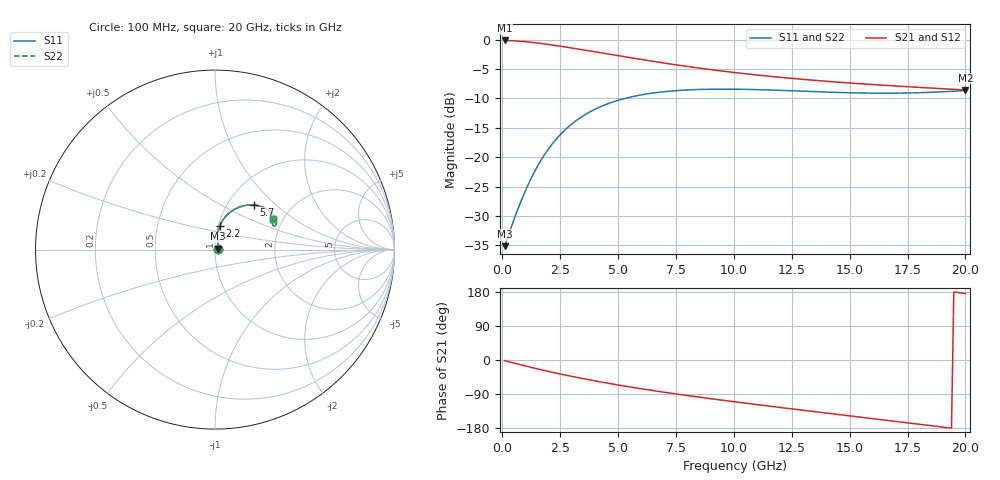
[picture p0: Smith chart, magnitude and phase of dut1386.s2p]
! Touchstone file exported from HFSS 2024.1.0
!  File:  C:/UserFiles/LocalFiles/RDL_TSV_Batchsim/temp_RDL_TSV_1386_1780402451.aedt
!  Generated:  08:28:41 PM Jun  2, 2026
!  Design:  RDL_TSV
!  Project:  temp_RDL_TSV_1386_1780402451
!  Setup:  Setup1
!  Solution:  Sweep
! Variables:
!  dtsv = 9.47um
!  hbump = 3um
!  htsv = 61.44um
!  ldown = 179.32um
!  lrdl = 536.49um
!  p = 40
!  p1 = 52.13um
!  rhole = 10um
!  subl = 2683.92um
!  t = 450um
!  tdown = 2.85um
!  trdl = 3.95um
!  viad = 10um
!  wdown = 29.57um
!  wrdl = 13.8um
!  xbump = 18um
# GHz S MA R 50.000000
! Terminal data exported
! Port[1] = TM1_1_T1
! Port[2] = TM1_4_T1
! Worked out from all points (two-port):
!   200 points, 100 MHz to 20 GHz, reference 50 ohm
!   highest |S21| = -0.15 dB at 100 MHz (marker M1); lowest = -8.6 dB at 20 GHz (marker M2)
!   |S21| within 3 dB of the highest: start of sweep to 5.629 GHz
!   lowest |S11| = -35.2 dB at 100 MHz (marker M3), VSWR 1.04, Z = 51.7 + j0.522 ohm
!   |S11| at or under -10 dB: start of sweep to 5.312 GHz
!   |S22| runs from -35.2 to -8.4 dB; largest |S21 - S12| = 1.5e-14
!   S11 on the Smith chart (normalised r, x): 100 MHz: 1.03, +0.01; 2.2 GHz: 1.02, +0.27; 5.7 GHz: 1.32, +0.74; 20 GHz: 1.78, +0.71
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0.1  0.01747 16.8  0.983 -1.6  0.983 -1.6  0.01747 16.8
! Gamma 0 0 0 0
! Port Impedance 50 0 50 0
0.5  0.02936 54.6  0.9759 -8.1  0.9759 -8.1  0.02936 54.6
0.7  0.03732 64.1  0.9702 -11.2  0.9702 -11.2  0.03732 64.1
1.2  0.06319 76.9  0.9507 -18.8  0.9507 -18.8  0.06319 76.9
1.4  0.07571 79.0  0.9411 -21.8  0.9411 -21.8  0.07571 79.0
1.7  0.09616 80.1  0.9254 -26.1  0.9254 -26.1  0.09616 80.1
2.2  0.1327 78.7  0.8968 -33.0  0.8968 -33.0  0.1327 78.7
2.8  0.177 74.3  0.8604 -40.8  0.8604 -40.8  0.1771 74.3
3.5  0.225 67.9  0.8173 -49.3  0.8173 -49.3  0.225 67.9
4  0.2551 63.2  0.7871 -55.1  0.7871 -55.1  0.2552 63.2
4.5  0.2815 58.7  0.7577 -60.6  0.7577 -60.6  0.2816 58.7
5.7  0.3295 48.9  0.6922 -73.0  0.6922 -73.0  0.3295 48.9
6.8  0.3569 41.4  0.6395 -83.3  0.6395 -83.3  0.3569 41.4
7.6  0.3689 36.9  0.6057 -90.4  0.6057 -90.4  0.369 36.9
8.4  0.3758 33.0  0.5756 -97.2  0.5756 -97.2  0.3759 33.0
10.1  0.3783 26.8  0.5225 -110.8  0.5225 -110.8  0.3785 26.8
11.7  0.3716 23.3  0.4838 -123.0  0.4838 -123.0  0.3717 23.3
13.4  0.3611 21.7  0.4515 -135.7  0.4515 -135.7  0.3612 21.7
15  0.3527 22.0  0.4273 -147.4  0.4273 -147.4  0.3528 22.0
16.7  0.3497 23.7  0.4061 -159.9  0.4061 -159.9  0.3498 23.7
18.3  0.3547 25.8  0.3889 -171.8  0.3889 -171.8  0.3548 25.9
20  0.3688 27.9  0.3724 175.7  0.3724 175.7  0.3689 28.0
